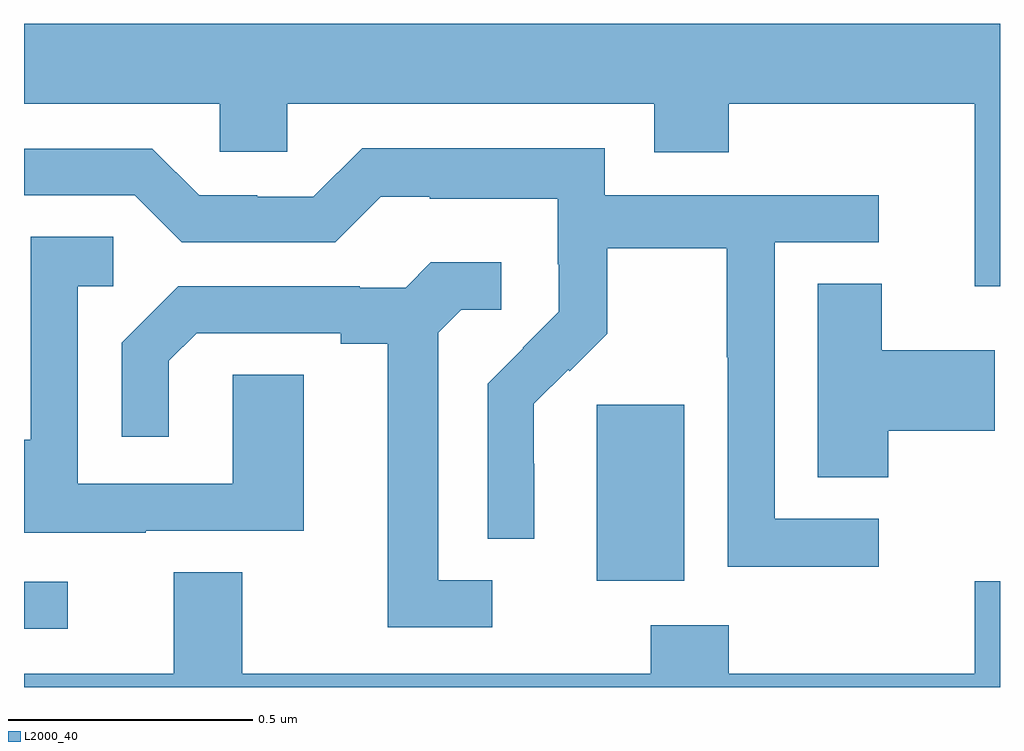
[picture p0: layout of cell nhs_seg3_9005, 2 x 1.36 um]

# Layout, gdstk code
import gdstk
lib = gdstk.Library(unit=1e-6, precision=1e-09)
def R(c, l, rs):  # rectangles x0, y0, x1, y1
    for r in rs: c.add(gdstk.rectangle(r[:2], r[2:], *l))
def P(c, l, *ps):  # polygons
    for p in ps: c.add(gdstk.Polygon(p, *l))
L2000_40 = (2000, 40)

nhs_seg3_9005 = lib.new_cell('nhs_seg3_9005')
R(nhs_seg3_9005, L2000_40, [(223,686.52,223.09,686.616), (224.174,686.618,224.353,686.979)])
P(nhs_seg3_9005, L2000_40, [(225,687.76),(223,687.76),(223,687.596),(223.401,687.596),(223.401,687.498),(223.539,687.498),(223.539,687.596),(224.291,687.596),(224.291,687.497),(224.444,687.497),(224.444,687.596),(224.948,687.596),(224.948,687.222),(225,687.222)],
  [(224.752,686.745),(224.538,686.745),(224.538,687.312),(224.752,687.312),(224.752,687.408),(224.19,687.408),(224.19,687.505),(223.693,687.505),(223.593,687.405),(223.478,687.405),(223.478,687.408),(223.359,687.408),(223.263,687.504),(223,687.504),(223,687.408),(223.227,687.408),(223.323,687.312),(223.638,687.312),(223.731,687.405),(223.831,687.405),(223.831,687.401),(224.094,687.401),(224.094,687.267),(224.096,687.267),(224.096,687.17),(224.022,687.096),(224.023,687.095),(223.95,687.022),(223.95,686.704),(224.046,686.704),(224.046,686.858),(224.045,686.858),(224.045,686.981),(224.115,687.051),(224.118,687.048),(224.195,687.125),(224.195,687.3),(224.44,687.3),(224.44,687.076),(224.442,687.076),(224.442,686.647),(224.752,686.647)],
  [(223.249,686.721),(223.573,686.721),(223.573,687.041),(223.428,687.041),(223.428,686.817),(223.11,686.817),(223.11,687.222),(223.183,687.222),(223.183,687.323),(223.014,687.323),(223.014,686.907),(223,686.907),(223,686.717),(223.249,686.717)],
  [(223.96,686.619),(223.849,686.619),(223.849,687.127),(223.896,687.174),(223.978,687.174),(223.978,687.271),(223.834,687.271),(223.782,687.219),(223.688,687.219),(223.688,687.222),(223.316,687.222),(223.2,687.106),(223.2,686.913),(223.297,686.913),(223.297,687.069),(223.354,687.126),(223.649,687.126),(223.649,687.104),(223.745,687.104),(223.745,686.523),(223.96,686.523)],
  [(224.771,686.926),(224.989,686.926),(224.989,687.091),(224.758,687.091),(224.758,687.227),(224.627,687.227),(224.627,686.83),(224.771,686.83)],
  [(223.307,686.636),(223.307,686.428),(223,686.428),(223,686.4),(225,686.4),(225,686.617),(224.948,686.617),(224.948,686.428),(224.444,686.428),(224.444,686.527),(224.284,686.527),(224.284,686.428),(223.447,686.428),(223.447,686.636)])

lib.write_gds('nhs_seg3_9005.gds')
